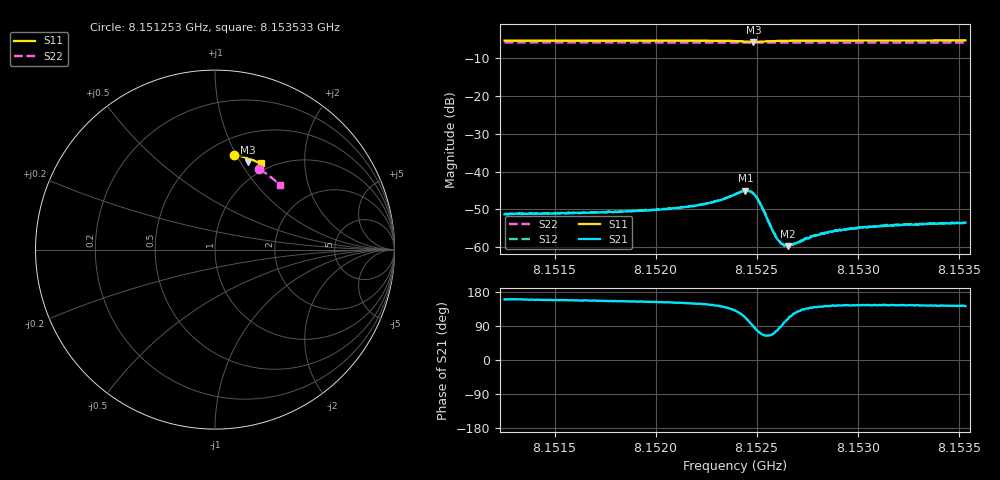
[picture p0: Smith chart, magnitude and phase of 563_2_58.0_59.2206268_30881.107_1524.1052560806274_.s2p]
#  HZ  S  RI  R  50.00
! Rohde & Schwarz Vector Network Analyzer
! Rohde-Schwarz,ZNB20-2Port,1311601062101988,3.16
! Created: UTC 3/21/2024, 1:15:35 AM
! freq[Hz]  re:S11  im:S11  re:S21  im:S21  re:S12  im:S12  re:S22  im:S22
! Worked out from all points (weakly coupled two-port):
!   401 points, 8.151253 GHz to 8.153533 GHz, reference 50 ohm
!   highest |S21| = -45.08 dB at 8.152444 GHz (marker M1); lowest = -59.7 dB at 8.152655 GHz (marker M2)
!   lowest |S11| = -5.7 dB at 8.152484 GHz (marker M3), VSWR 3.16, Z = 40.3 + j53.7 ohm
!   |S11| at or under -10 dB: nowhere
!   |S22| runs from -5.9 to -5.8 dB; largest |S21 - S12| = 0.00012
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8.1512531e9  0.1075 0.5288  -0.00255 0.000936  -0.00257 0.000961  0.2477 0.4474
8.151635e9  0.1342 0.5232  -0.00261 0.00111  -0.00262 0.00116  0.2688 0.4347
8.1520169e9  0.1611 0.5159  -0.00279 0.00144  -0.00279 0.00151  0.2889 0.4207
8.1522335e9  0.1774 0.5097  -0.00309 0.00196  -0.00308 0.00202  0.3 0.4125
8.152319e9  0.1846 0.5054  -0.00328 0.00255  -0.00332 0.00262  0.3042 0.409
8.1523931e9  0.1904 0.4982  -0.00323 0.00377  -0.0032 0.00384  0.308 0.406
8.1524444e9  0.1897 0.4894  -0.00206 0.00518  -0.00205 0.00522  0.3102 0.4036
8.1524672e9  0.1856 0.4866  -0.000846 0.00538  -0.000799 0.00543  0.3112 0.4028
8.1524844e9  0.1816 0.4868  0.000131 0.00508  0.000163 0.00513  0.3118 0.4023
8.1525015e9  0.1785 0.4891  0.000913 0.00438  0.00096 0.00442  0.3126 0.4018
8.1525186e9  0.177 0.4927  0.00124 0.00348  0.0013 0.00354  0.3134 0.4012
8.1525699e9  0.1811 0.5003  0.000768 0.00169  0.000785 0.00172  0.316 0.3994
8.1525984e9  0.1845 0.5022  0.000314 0.00128  0.000363 0.00128  0.3175 0.3982
8.1526098e9  0.1861 0.5026  0.000155 0.00121  0.000193 0.00123  0.3181 0.3979
8.1526269e9  0.188 0.5028  -4.12e-05 0.00109  -3.79e-05 0.00111  0.3191 0.3972
8.1526554e9  0.1911 0.503  -0.000333 0.000982  -0.000346 0.000985  0.3205 0.396
8.1526839e9  0.194 0.5028  -0.000597 0.000917  -0.000561 0.000924  0.3219 0.3948
8.1527751e9  0.2019 0.5013  -0.00103 0.000938  -0.00103 0.000916  0.3264 0.3909
8.1529005e9  0.2117 0.4983  -0.00133 0.000963  -0.00133 0.00102  0.3324 0.3857
8.1530259e9  0.2205 0.4949  -0.0015 0.00104  -0.00147 0.00106  0.3382 0.3803
8.153157e9  0.2293 0.4912  -0.00156 0.00112  -0.00158 0.00114  0.3444 0.3745
8.1535332e9  0.2536 0.4801  -0.00166 0.00129  -0.00163 0.00128  0.3611 0.3577
